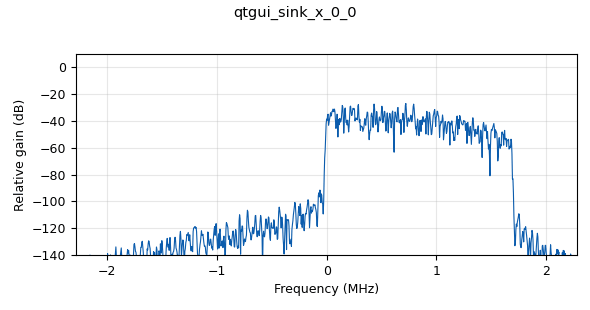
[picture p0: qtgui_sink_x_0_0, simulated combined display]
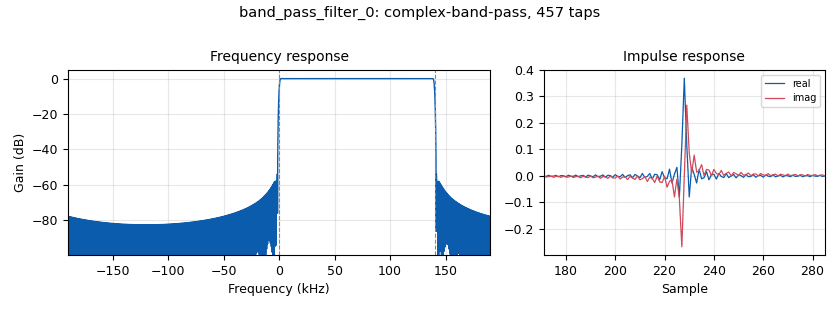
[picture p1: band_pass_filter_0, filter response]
options:
  parameters:
    author: dan
    generate_options: qt_gui
    id: multiple_phase_1
    output_language: python
    title: Multiple Cariers
  states: {}

blocks:
- name: audio_samp_rate
  id: variable
  parameters:
    value: 380e3
  states: {}
- name: fm_max_dev
  id: variable
  parameters:
    value: 50e3
  states: {}
- name: freq_offset
  id: variable
  parameters:
    value: 250e3
  states: {}
- name: outbuffer
  id: variable
  parameters:
    value: '100'
  states: {}
- name: samp_rate
  id: variable
  parameters:
    value: 2e6
  states: {}
- name: analog_fm_preemph_0
  id: analog_fm_preemph
  parameters:
    fh: '-1.0'
    samp_rate: audio_samp_rate
    tau: '50e-6'
  states: {}
- name: analog_fm_preemph_0_0
  id: analog_fm_preemph
  parameters:
    fh: '-1.0'
    samp_rate: audio_samp_rate
    tau: '50e-6'
  states: {}
- name: analog_fm_preemph_0_1
  id: analog_fm_preemph
  parameters:
    fh: '-1.0'
    samp_rate: audio_samp_rate
    tau: '50e-6'
  states: {}
- name: analog_sig_source_x_0
  id: analog_sig_source_x
  parameters:
    amp: '0.3'
    freq: '1000'
    offset: '0'
    phase: '0'
    samp_rate: audio_samp_rate
    type: float
    waveform: analog.GR_SIN_WAVE
  states: {}
- name: analog_sig_source_x_0_0
  id: analog_sig_source_x
  parameters:
    amp: '0.3'
    freq: 2e3
    offset: '0'
    phase: '0'
    samp_rate: audio_samp_rate
    type: float
    waveform: analog.GR_SIN_WAVE
  states: {}
- name: analog_sig_source_x_0_0_0
  id: analog_sig_source_x
  parameters:
    amp: '0.4'
    freq: 3e3
    offset: '0'
    phase: '0'
    samp_rate: audio_samp_rate
    type: float
    waveform: analog.GR_SIN_WAVE
  states: {}
- name: analog_sig_source_x_1
  id: analog_sig_source_x
  parameters:
    amp: '1'
    freq: 20e3
    offset: '0'
    phase: '0'
    samp_rate: audio_samp_rate
    type: float
    waveform: analog.GR_COS_WAVE
  states: {}
- name: analog_sig_source_x_1_0
  id: analog_sig_source_x
  parameters:
    amp: '1'
    freq: 40e3
    offset: '0'
    phase: '0'
    samp_rate: audio_samp_rate
    type: float
    waveform: analog.GR_COS_WAVE
  states: {}
- name: analog_wfm_tx_0
  id: analog_wfm_tx
  parameters:
    audio_rate: int(audio_samp_rate)
    fh: '-1.0'
    max_dev: fm_max_dev
    quad_rate: int(audio_samp_rate*12)
    tau: '50e-6'
  states: {state: disabled}
- name: band_pass_filter_0
  id: band_pass_filter
  parameters:
    decim: '1'
    gain: '1'
    high_cutoff_freq: '140000'
    low_cutoff_freq: '0'
    samp_rate: audio_samp_rate
    type: fir_filter_fcc
    width: '2000'
    win: window.WIN_HAMMING
  states: {}
- name: blocks_add_xx_0
  id: blocks_add_xx
  parameters:
    num_inputs: '3'
    type: float
  states: {}
- name: blocks_multiply_xx_0
  id: blocks_multiply_xx
  parameters:
    type: float
  states: {}
- name: blocks_multiply_xx_0_0
  id: blocks_multiply_xx
  parameters:
    type: float
  states: {}
- name: blocks_vco_f_0
  id: blocks_vco_f
  parameters:
    amplitude: '1'
    samp_rate: audio_samp_rate
    sensitivity: '753982.2369'
  states: {}
- name: gr_frequency_modulator_fc_0
  id: analog_frequency_modulator_fc
  parameters:
    maxoutbuf: outbuffer
    sensitivity: 2*math.pi*fm_max_dev/audio_samp_rate
  states: {state: disabled}
- name: import_0
  id: import
  parameters:
    imports: import math
  states: {}
- name: qtgui_sink_x_0_0
  id: qtgui_sink_x
  parameters:
    bw: audio_samp_rate*12
    fc: '0'
    fftsize: '1024'
    plotconst: 'False'
    plottime: 'False'
    showrf: 'True'
    type: complex
  states: {}
- name: qtgui_sink_x_0_0_0
  id: qtgui_sink_x
  parameters:
    bw: audio_samp_rate
    fc: '0'
    fftsize: '1024'
    plotconst: 'False'
    plottime: 'False'
    showrf: 'True'
    type: float
  states: {state: disabled}

connections:
- [analog_fm_preemph_0, '0', blocks_multiply_xx_0, '0']
- [analog_fm_preemph_0_0, '0', blocks_multiply_xx_0_0, '0']
- [analog_fm_preemph_0_1, '0', blocks_add_xx_0, '2']
- [analog_sig_source_x_0, '0', analog_fm_preemph_0, '0']
- [analog_sig_source_x_0_0, '0', analog_fm_preemph_0_0, '0']
- [analog_sig_source_x_0_0_0, '0', analog_fm_preemph_0_1, '0']
- [analog_sig_source_x_1, '0', blocks_multiply_xx_0, '1']
- [analog_sig_source_x_1_0, '0', blocks_multiply_xx_0_0, '1']
- [analog_wfm_tx_0, '0', qtgui_sink_x_0_0, '0']
- [band_pass_filter_0, '0', qtgui_sink_x_0_0, '0']
- [blocks_add_xx_0, '0', analog_wfm_tx_0, '0']
- [blocks_add_xx_0, '0', blocks_vco_f_0, '0']
- [blocks_add_xx_0, '0', gr_frequency_modulator_fc_0, '0']
- [blocks_add_xx_0, '0', qtgui_sink_x_0_0_0, '0']
- [blocks_multiply_xx_0, '0', blocks_add_xx_0, '0']
- [blocks_multiply_xx_0_0, '0', blocks_add_xx_0, '1']
- [blocks_vco_f_0, '0', band_pass_filter_0, '0']
- [gr_frequency_modulator_fc_0, '0', qtgui_sink_x_0_0, '0']

metadata:
  file_format: 1
